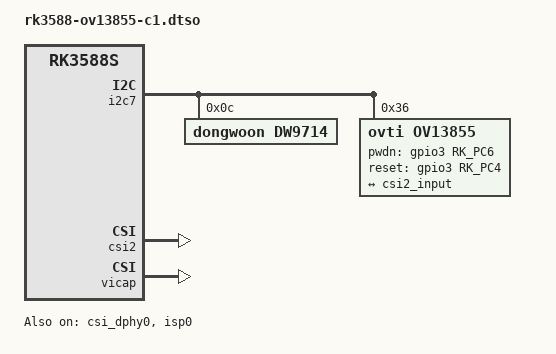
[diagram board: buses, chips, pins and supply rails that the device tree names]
// SPDX-License-Identifier: (GPL-2.0+ OR MIT)
/*
 * OV13855 camera module (CMK-OT2016-FV1) on the CAM1 connector of the
 * Orange Pi 5 (RK3588S).
 *
 * Camera connector mapping for this board, taken from the vendor device tree
 * (rk3588s-orangepi-5-camera{1,2,3}.dtsi):
 *
 *   CAM1 -> csi2_dphy0  -> mipi2_csi2 @ 0xfdd30000  (mainline: csi_dphy0 + csi2)
 *   CAM2 -> csi2_dcphy0 -> mipi0_csi2 @ 0xfdd10000
 *   CAM3 -> csi2_dcphy1 -> mipi1_csi2 @ 0xfdd20000
 *
 * Only CAM1 works with mainline. CAM2 and CAM3 hang off the Samsung DC-PHYs,
 * which phy-rockchip-samsung-dcphy only drives in DSI transmit mode, and
 * mainline has no CSI host node for 0xfdd10000 or 0xfdd20000.
 */

/dts-v1/;
/plugin/;

#include <dt-bindings/clock/rockchip,rk3588-cru.h>
#include <dt-bindings/gpio/gpio.h>
#include <dt-bindings/pinctrl/rockchip.h>

/ {
	compatible = "rockchip,rk3588s";
};

&i2c7 {
	#address-cells = <1>;
	#size-cells = <0>;
	status = "okay";

	/*
	 * Voice coil motor for the lens. The vendor tree describes a VM149C
	 * here, which is register compatible with the DW9714 that mainline
	 * has a driver for. Focus is set manually via V4L2_CID_FOCUS_ABSOLUTE
	 * on /dev/v4l-subdev*; the rkisp2 IPA has no autofocus algorithm.
	 */
	dw9714: focus@c {
		compatible = "dongwoon,dw9714";
		reg = <0x0c>;
	};

	ov13855: camera-sensor@36 {
		compatible = "ovti,ov13855";
		reg = <0x36>;

		assigned-clocks = <&cru CLK_MIPI_CAMARAOUT_M3>;
		assigned-clock-rates = <24000000>;
		clocks = <&cru CLK_MIPI_CAMARAOUT_M3>;
		clock-names = "xvclk";

		pinctrl-names = "default";
		pinctrl-0 = <&mipim0_camera3_clk &cam1_rstn &cam1_pwdn>;
		pwdn-gpios = <&gpio3 RK_PC6 GPIO_ACTIVE_HIGH>;
		reset-gpios = <&gpio3 RK_PC4 GPIO_ACTIVE_HIGH>;

		lens-focus = <&dw9714>;
		orientation = <2>; /* External */

		/*
		 * The Rockchip ov13855 driver fails probe with -EINVAL if any
		 * of these four are missing.
		 */
		rockchip,camera-module-index = <0>;
		rockchip,camera-module-facing = "back";
		rockchip,camera-module-name = "CMK-OT2016-FV1";
		rockchip,camera-module-lens-name = "default";

		port {
			ov13855_output: endpoint {
				data-lanes = <1 2>;
				link-frequencies = /bits/ 64 <540000000 270000000>;
				remote-endpoint = <&csi2_input>;
			};
		};
	};
};

&pinctrl {
	cam1 {
		cam1_rstn: cam1-rstn-pinctrl {
			rockchip,pins = <3 RK_PC4 RK_FUNC_GPIO &pcfg_pull_none>;
		};

		cam1_pwdn: cam1-pwdn-pinctrl {
			rockchip,pins = <3 RK_PC6 RK_FUNC_GPIO &pcfg_pull_none>;
		};
	};
};

&csi_dphy0 {
	status = "okay";
};

&csi2 {
	status = "okay";
};

&csi2_in {
	csi2_input: endpoint {
		data-lanes = <1 2>;
		link-frequencies = /bits/ 64 <540000000 270000000>;
		remote-endpoint = <&ov13855_output>;
	};
};

&vicap {
	status = "okay";
};

&vicap_mmu {
	status = "okay";
};

/*
 * Only ISP0 is enabled. rkisp2 registers one media device per ISP instance,
 * all named "rkisp2", and the libcamera pipeline handler takes the first one
 * that matches; enabling ISP1 as well would make that choice ambiguous.
 *
 * There is deliberately no device tree link from VICAP to the ISP: this
 * driver runs the ISP in memory-to-memory mode, so userspace captures raw
 * frames from rkcif-mipi2-id0 and feeds them back in through rkisp2_rawrd0.
 */
&isp0 {
	status = "okay";
};

&isp0_mmu {
	status = "okay";
};
